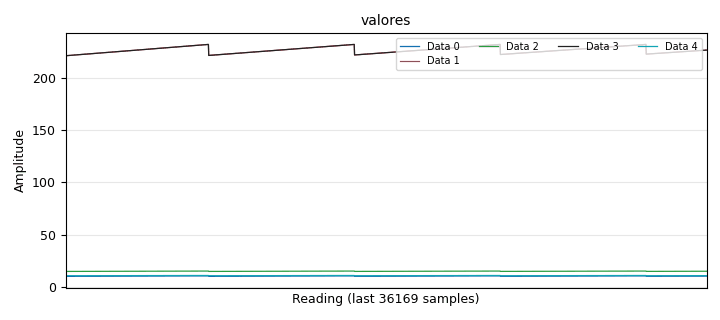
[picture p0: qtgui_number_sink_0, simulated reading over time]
options:
  parameters:
    author: nicolas_murillo - andrey_salom-  danny_navarro
    copyright: uis
    generate_options: qt_gui
    id: lab1_comu2
    output_language: python
    title: lab1 comunicaciones 2
  states: {}

blocks:
- name: samp_rate
  id: variable
  parameters:
    value: '32000'
  states: {}
- name: blocks_vector_source_x_0
  id: blocks_vector_source_x
  parameters:
    repeat: 'True'
    type: float
    vector: (2, 4, 26)
  states: {}
- name: epy_block_0
  id: epy_block
  parameters:
    _source_code: |
      """
      Embedded Python Blocks:

      Each time this file is saved, GRC will instantiate the first class it finds
      to get ports and parameters of your block. The arguments to __init__  will
      be the parameters. All of them are required to have default values!
      """



      import numpy as np
      from gnuradio import gr
      class blk (gr. sync_block ):
      	def __init__ ( self ) : # only default arguments here
      		gr. sync_block . __init__ (self ,name =" Promedios_de_tiempos ", # will show up in GRC
      		in_sig =[ np. float32 ], out_sig =[ np. float32 ,np. float32 ,np.float32 , np.float32 ,
      		np. float32 ])
      		self . acum_ant = 0
      		self . acum_ant1 = 0
      		self . acum_ant2 = 0
      		self . Nt = 0
      		
      	def work (self , input_items , output_items ):
      		x = input_items [0] # entrada
      		
      		y0 = output_items [0] # Promedio 
      		y1 = output_items [1] # Media 
      		y2 = output_items [2] # RMS 
      		y3 = output_items [3] # Potencia promedio 
      		y4 = output_items [4] # Desviacion estandar
      		
      		
      		N = len (x)
      		self . Nt = self . Nt + N
      		
      		# Calculo del promedio
      		acum = self . acum_ant + np. cumsum (x)
      		self . acum_ant = acum [N -1]
      		y0 [:]= acum/ self . Nt
      		
      		# Calculo de la media cuadratica
      		x2=np. multiply (x,x)
      		acum1 = self . acum_ant1 + np. cumsum (x2)
      		self . acum_ant1 = acum1 [N -1]
      		y1 [:] = acum1 / self . Nt
      		# RMS
      		y2 [:] = np. sqrt (y1)
      		
      		# potencia promedio
      		y3 [:] = np. multiply (y2 ,y2)
      		
      		# desviacion estandar
      		rest=x-y0
      		x3 = np. multiply (rest ,rest)
      		acum2 = self . acum_ant2 + np. cumsum (x3)
      		self . acum_ant2 = acum2 [N -1]
      		y4 [:] = np. sqrt ( acum2 / self . Nt )
      		return len (x)
  states: {}
- name: qtgui_number_sink_0
  id: qtgui_number_sink
  parameters:
    autoscale: 'True'
    graph_type: qtgui.NUM_GRAPH_HORIZ
    name: '"valores"'
    nconnections: '5'
    type: float
  states: {}

connections:
- [blocks_vector_source_x_0, '0', epy_block_0, '0']
- [epy_block_0, '0', qtgui_number_sink_0, '0']
- [epy_block_0, '1', qtgui_number_sink_0, '1']
- [epy_block_0, '2', qtgui_number_sink_0, '2']
- [epy_block_0, '3', qtgui_number_sink_0, '3']
- [epy_block_0, '4', qtgui_number_sink_0, '4']

metadata:
  file_format: 1
